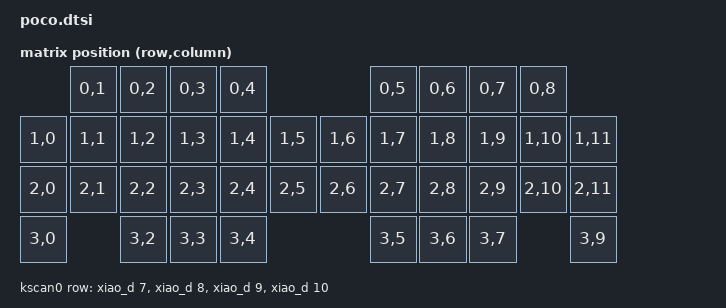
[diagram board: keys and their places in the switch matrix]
#include <dt-bindings/zmk/matrix_transform.h>
#include "poco-layouts.dtsi"

&xiao_i2c { status = "disabled"; };
&xiao_serial { status = "disabled"; };

&physical_layout0 {
  transform = <&default_transform>;
};

/ {
  chosen {
    zmk,physical-layout = &physical_layout0;
    zmk,battery = &vbatt;
  };

  default_transform: keymap_transform_0 {
    compatible = "zmk,matrix-transform";
    columns = <10>;
    rows = <4>;
    map = <
                RC(0,1) RC(0,2) RC(0,3) RC(0,4)                    RC(0,5) RC(0,6) RC(0,7) RC(0,8)
        RC(1,0) RC(1,1) RC(1,2) RC(1,3) RC(1,4) RC(1,5)    RC(1,6) RC(1,7) RC(1,8) RC(1,9) RC(1,10) RC(1,11)
        RC(2,0) RC(2,1) RC(2,2) RC(2,3) RC(2,4) RC(2,5)    RC(2,6) RC(2,7) RC(2,8) RC(2,9) RC(2,10) RC(2,11)
        RC(3,0)         RC(3,2) RC(3,3) RC(3,4)                    RC(3,5) RC(3,6) RC(3,7)          RC(3,9)
    >;
  };

  kscan0: kscan0 {
    compatible= "zmk,kscan-gpio-matrix";
    diode-direction = "col2row";
    wakeup-source;

    row-gpios
        = <&xiao_d 7 GPIO_ACTIVE_HIGH>
        , <&xiao_d 8 GPIO_ACTIVE_HIGH>
        , <&xiao_d 9 GPIO_ACTIVE_HIGH>
        , <&xiao_d 10 GPIO_ACTIVE_HIGH>;
  };

  vbatt: vbatt {
    compatible = "zmk,battery-voltage-divider";
    status = "okay";
    io-channels = <&adc 0>;
    output-ohms = <470000>;
    full-ohms = <(1000000 + 470000)>;
    // mv-to-pct-thresholds = <1000 1100 1170 1220 1260 1300 1340 1380 1420 1460 1520>;
  };
};
